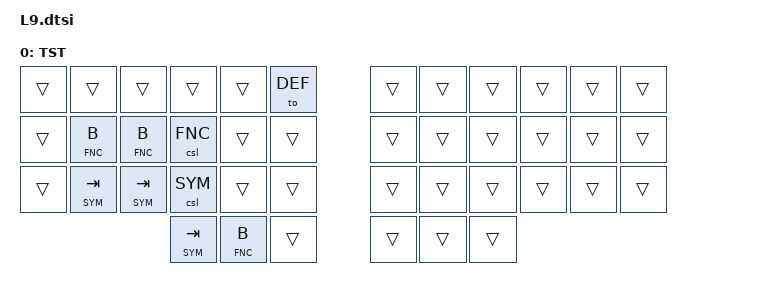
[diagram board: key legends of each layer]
/**
 * Gaming Layer
 */

/ {
  keymap {
    compatible = "zmk,keymap";

    layer_9 {
      label = "TST";
      bindings = <
// ╭───────────────┬───────────────┬───────────────┬───────────────┬───────────────┬───────────────╮   ╭───────────────┬───────────────┬───────────────┬───────────────┬───────────────┬───────────────╮
//  0               1               2               3               4               5                   6               7               8               9               10              11
    &trans          &trans          &trans          &trans          &trans          &to DEF              &trans          &trans          &trans          &trans          &trans          &trans         
// ├───────────────├───────────────┼───────────────┼───────────────┼───────────────┼───────────────┤   ├───────────────├───────────────┼───────────────┼───────────────┼───────────────┼───────────────┤
//  12              13              14              15              16              17                  18              19              20              21              22              23
    &trans          &lt FNC B       &ht_tosl FNC B  &csl FNC        &trans          &trans              &trans          &trans          &trans          &trans          &trans          &trans          
// ├───────────────├───────────────┼───────────────┼───────────────┼───────────────┼───────────────┤   ├───────────────├───────────────┼───────────────┼───────────────┼───────────────┼───────────────┤
//  24              25              26              27              28              29                  30              31              32              33              34              35
    &trans          &lt SYM TAB     &ht_tosl SYM TAB &csl SYM       &trans          &trans              &trans          &trans          &trans          &trans          &trans          &trans          
// ╰───────────────┴───────────────┴───────────────┼───────────────┼───────────────┼───────────────┤   ├───────────────├───────────────┼───────────────┼───────────────┴───────────────┴───────────────╯
//                                                 36              37              38                  39              40              41
                                                    &lt SYM TAB     &lt FNC B       &trans              &trans          &trans          &trans
//                                                 ╰───────────────┴───────────────┴───────────────╯   ╰───────────────┴───────────────┴───────────────╯
      >;
    };
  };
};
